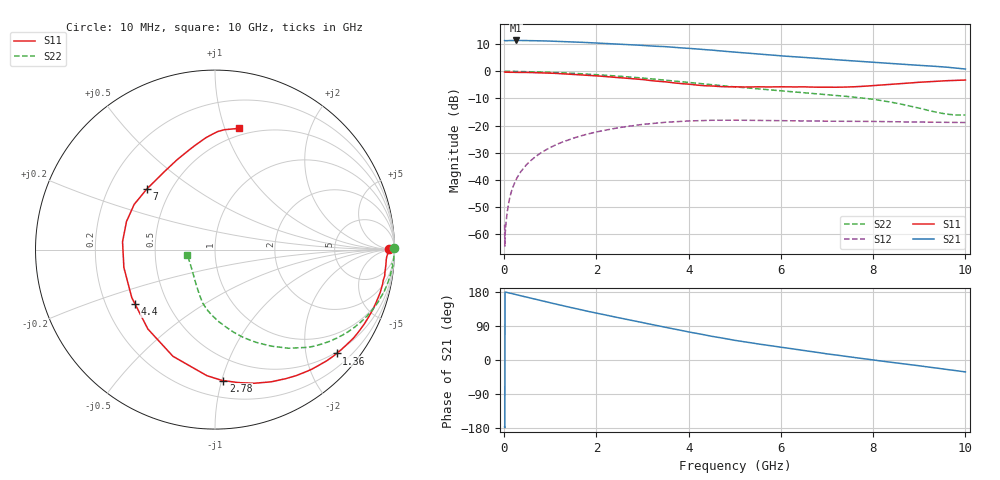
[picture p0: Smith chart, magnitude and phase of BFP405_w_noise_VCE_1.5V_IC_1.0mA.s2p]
! Infineon Technologies  Discrete & RF Semiconductors
! BFP405
! VCE =  1.5 V,  IC =  1.0 mA
! Common Emitter S-Parameters:  Jan 2016
# GHz  S  MA  R  50
!  f  S11  S21  S12  S22
! GHz  MAG  ANG  MAG  ANG  MAG  ANG  MAG  ANG
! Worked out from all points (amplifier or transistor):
!   233 points, 10 MHz to 10 GHz, reference 50 ohm
!   highest |S21| = 11.3 dB at 260 MHz (marker M1)
!   |S21| within 3 dB of that: start of sweep to 4.079 GHz
!   unconditionally stable (mu >= 1): 14.69 MHz to 15.18 MHz; 5.099 GHz to end of sweep
!   at 200 MHz: K = 0.02, MSG = 26.8 dB, |S12| = -42.3 dB
!   at 1.74 GHz: K = 0.22, MSG = 17.0 dB, |S12| = -23.5 dB
!   at 10 GHz: K = 2.03, MAG = 4.1 dB, |S12| = -18.9 dB
!   lowest NFmin = 0.74 dB at 900 MHz
!   S11 on the Smith chart (normalised r, x): 10 MHz: 62, +7; 1.36 GHz: 0.47, -2.64; 2.78 GHz: 0.32, -1.01; 4.4 GHz: 0.33, -0.28; 7 GHz: 0.37, +0.34; 10 GHz: 0.44, +1.12
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0.01  0.9686 0.2  3.674 -177.0  0.0015 -37.0  1 0.6
0.015  0.9643 -0.1  3.658 -178.8  0.0006 -0.2  0.9976 0.4
0.02  0.96 -0.5  3.646 179.3  0.0009 87.2  0.9952 0.1
0.04  0.9618 -1.0  3.645 179.0  0.0016 88.7  0.9973 -0.4
0.09  0.9574 -2.5  3.671 177.3  0.0034 87.9  0.9987 -1.5
0.16  0.9557 -4.6  3.675 175.6  0.0062 87.1  0.9964 -2.8
0.26  0.955 -7.4  3.689 172.5  0.0101 86.0  0.9893 -4.5
0.68  0.9419 -20.0  3.641 160.4  0.0267 79.0  0.9779 -11.6
1.02  0.9209 -30.1  3.589 150.4  0.0401 72.9  0.9566 -17.3
1.36  0.8912 -40.5  3.503 140.9  0.0533 66.5  0.9285 -22.9
1.68  0.8589 -50.4  3.411 132.2  0.0651 60.5  0.898 -27.8
2.2  0.8007 -66.9  3.243 118.7  0.0825 50.8  0.8435 -35.4
2.78  0.7315 -86.3  3.064 104.2  0.0992 40.2  0.7766 -43.6
3.4  0.6466 -107.7  2.857 88.7  0.1127 28.9  0.6974 -51.9
4  0.5793 -130.2  2.649 74.1  0.1214 18.9  0.6222 -59.8
4.4  0.5388 -145.8  2.483 65.0  0.1241 12.7  0.5762 -64.7
5.1  0.5141 -172.1  2.212 50.1  0.1253 3.4  0.507 -72.9
6  0.5173 162.4  1.921 33.7  0.1228 -5.6  0.4371 -81.7
6.8  0.5084 143.3  1.722 19.9  0.1206 -11.3  0.3834 -89.8
7  0.5082 138.3  1.678 16.2  0.1202 -12.6  0.3708 -91.9
8.4  0.5746 104.3  1.387 -6.2  0.1175 -20.9  0.2682 -108.6
10  0.6885 78.8  1.099 -31.4  0.1136 -26.4  0.1563 -168.9
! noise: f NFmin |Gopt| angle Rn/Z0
0.9  0.74  0.71  15  0.57
1.8  1.18  0.58  32  0.51
2.4  1.45  0.48  44  0.46
3  1.56  0.48  58  0.43
4  1.81  0.35  86  0.3
5  2.13  0.33  122  0.21
